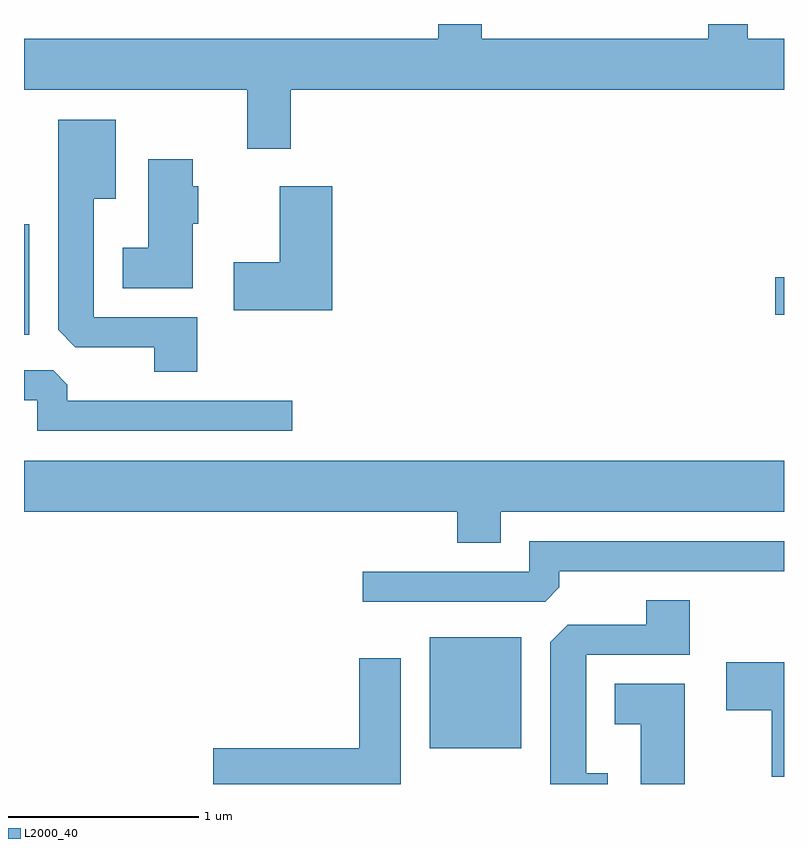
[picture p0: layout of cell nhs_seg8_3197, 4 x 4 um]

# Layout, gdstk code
import gdstk
lib = gdstk.Library(unit=1e-6, precision=1e-09)
def R(c, l, rs):  # rectangles x0, y0, x1, y1
    for r in rs: c.add(gdstk.rectangle(r[:2], r[2:], *l))
def P(c, l, *ps):  # polygons
    for p in ps: c.add(gdstk.Polygon(p, *l))
L2000_40 = (2000, 40)

nhs_seg8_3197 = lib.new_cell('nhs_seg8_3197')
R(nhs_seg8_3197, L2000_40, [(283.746,1808.531,284.229,1809.114), (281.611,1810.706,281.639,1811.289), (285.566,1810.811,285.611,1811.009)])
P(nhs_seg8_3197, L2000_40, [(283.014,1811.996),(285.611,1811.996),(285.611,1812.264),(285.419,1812.264),(285.419,1812.342),(285.211,1812.342),(285.211,1812.264),(284.019,1812.264),(284.019,1812.342),(283.791,1812.342),(283.791,1812.264),(281.611,1812.264),(281.611,1811.996),(282.786,1811.996),(282.786,1811.686),(283.014,1811.686)],
  [(282.524,1810.799),(281.979,1810.799),(281.979,1811.421),(282.094,1811.421),(282.094,1811.839),(281.791,1811.839),(281.791,1810.732),(281.882,1810.641),(282.296,1810.641),(282.296,1810.511),(282.524,1810.511)],
  [(282.499,1811.291),(282.529,1811.291),(282.529,1811.489),(282.499,1811.489),(282.499,1811.629),(282.266,1811.629),(282.266,1811.164),(282.131,1811.164),(282.131,1810.951),(282.499,1810.951)],
  [(283.234,1811.489),(282.956,1811.489),(282.956,1811.089),(282.716,1811.089),(282.716,1810.836),(283.234,1810.836)],
  [(283.023,1810.359),(281.839,1810.359),(281.839,1810.444),(281.764,1810.519),(281.611,1810.519),(281.611,1810.361),(281.681,1810.361),(281.681,1810.201),(283.023,1810.201)],
  [(284.119,1809.776),(285.611,1809.776),(285.611,1810.044),(281.611,1810.044),(281.611,1809.776),(283.891,1809.776),(283.891,1809.611),(284.119,1809.611)],
  [(284.429,1809.377),(284.429,1809.461),(285.611,1809.461),(285.611,1809.619),(284.271,1809.619),(284.271,1809.459),(283.393,1809.459),(283.393,1809.301),(284.354,1809.301)],
  [(284.684,1808.399),(284.569,1808.399),(284.569,1809.021),(285.114,1809.021),(285.114,1809.309),(284.886,1809.309),(284.886,1809.179),(284.472,1809.179),(284.381,1809.089),(284.381,1808.342),(284.684,1808.342)],
  [(283.594,1809.004),(283.376,1809.004),(283.376,1808.529),(282.606,1808.529),(282.606,1808.342),(283.594,1808.342)],
  [(285.611,1808.984),(285.306,1808.984),(285.306,1808.731),(285.546,1808.731),(285.546,1808.381),(285.611,1808.381)],
  [(285.089,1808.869),(284.721,1808.869),(284.721,1808.656),(284.856,1808.656),(284.856,1808.342),(285.089,1808.342)])

lib.write_gds('nhs_seg8_3197.gds')
